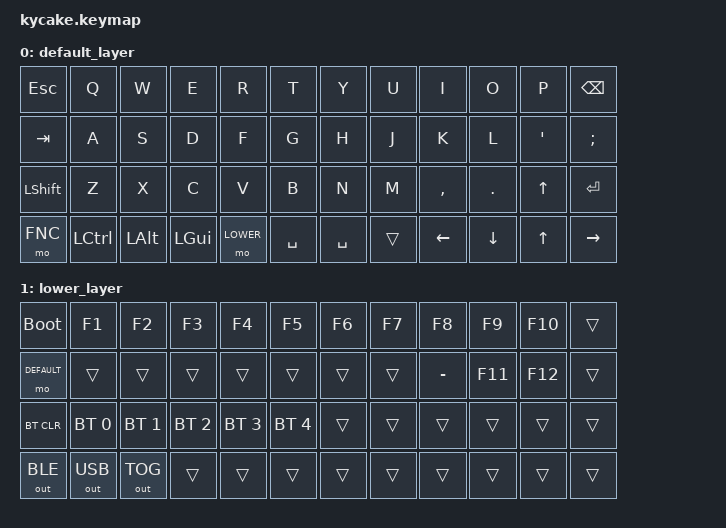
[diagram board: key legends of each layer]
/*
 * Copyright (c) 2021 The ZMK Contributors
 *
 * SPDX-License-Identifier: MIT
 */

#include <behaviors.dtsi>
#include <dt-bindings/zmk/keys.h>
#include <dt-bindings/zmk/bt.h>

#define DEFAULT 0
#define LOWER 1

/ {
    keymap {
        compatible = "zmk,keymap";

        default_layer {
            bindings = <
                &kp ESC     &kp Q       &kp W       &kp E       &kp R       &kp T       &kp Y       &kp U       &kp I       &kp O     &kp P       &kp BSPC
                &kp TAB     &kp A       &kp S       &kp D       &kp F       &kp G       &kp H       &kp J       &kp K       &kp L     &kp SQT     &kp SEMI
                &kp LSHFT   &kp Z       &kp X       &kp C       &kp V       &kp B       &kp N       &kp M       &kp COMMA   &kp DOT   &kp UP      &kp ENTER
                &mo FNC   &kp LCTRL    &kp LALT    &kp LGUI     &mo LOWER     &kp SPACE   &kp SPACE    &trans     &kp LEFT   &kp DOWN  &kp UP  &kp RIGHT
            >;
        };

       lower_layer {
            bindings = <
                &bootloader     &kp F1          &kp F2          &kp F3          &kp F4          &kp F5          &kp F6      &kp F7      &kp F8      &kp F9      &kp F10     &trans
                &mo DEFAULT        &trans          &trans          &trans          &trans          &trans          &trans      &trans      &kp MINUS   &kp F11     &kp F12     &trans
                &bt BT_CLR      &bt BT_SEL 0    &bt BT_SEL 1    &bt BT_SEL 2    &bt BT_SEL 3    &bt BT_SEL 4    &trans      &trans      &trans      &trans      &trans      &trans
                &out OUT_BLE    &out OUT_USB    &out OUT_TOG    &trans          &trans          &trans          &trans      &trans      &trans      &trans      &trans      &trans
            >;
        };
    };
};
